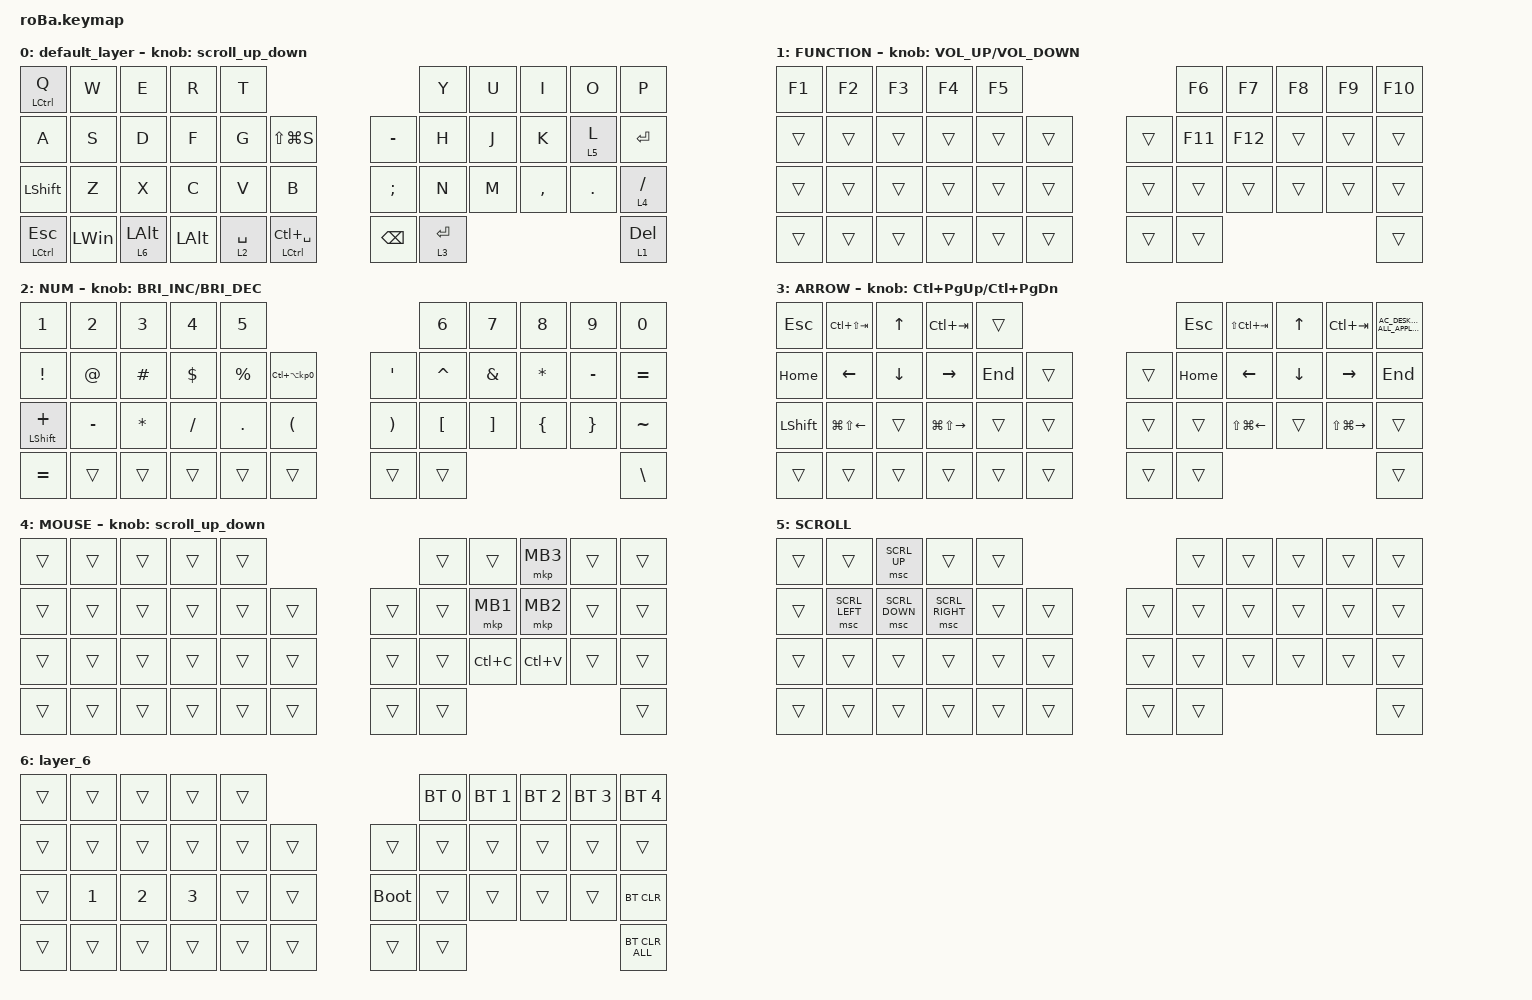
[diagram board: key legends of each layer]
#include <behaviors.dtsi>
#include <dt-bindings/zmk/bt.h>
#include <dt-bindings/zmk/keys.h>
#include <dt-bindings/zmk/pointing.h>

#define ZMK_POINTING_DEFAULT_SCRL_VAL 100

&mt {
    flavor = "balanced";
    quick-tap-ms = <0>;
};

/ {
    combos {
        compatible = "zmk,combos";

        tab {
            bindings = <&kp TAB>;
            key-positions = <11 12>;
        };

        shift_tab {
            bindings = <&kp LS(TAB)>;
            key-positions = <12 13>;
        };

        input_kw {
            bindings = <&input_kw>;
            key-positions = <8 9>;
        };
    };

    macros {
        to_layer_0: to_layer_0 {
            compatible = "zmk,behavior-macro-one-param";
            #binding-cells = <1>;
            bindings = <&to 0 &macro_param_1to1 &kp MACRO_PLACEHOLDER>;
            label = "TO_LAYER_0";
        };

        input_kw: input_kw {
            compatible = "zmk,behavior-macro";
            #binding-cells = <0>;
            bindings = <&kp N1 &kp E &kp D &kp E &kp N &kp E &kp R &kp N0>;
            label = "INPUT_KW";
        };

        kp_to_layer_0: kp_to_layer_0 {
            compatible = "zmk,behavior-macro";
            #binding-cells = <0>;
            bindings = <&to 0>;
            label = "KP_TO_LAYER_0";
        };
    };

    behaviors {
        lt_to_layer_0: lt_to_layer_0 {
            compatible = "zmk,behavior-hold-tap";
            label = "LAYER_TAP_TO_0";
            bindings = <&lt>, <&to>;

            #binding-cells = <2>;
            tapping-term-ms = <200>;
        };

        scroll_up_down: behavior_sensor_rotate_mouse_wheel_up_down {
            compatible = "zmk,behavior-sensor-rotate";
            #sensor-binding-cells = <0>;
            bindings = <&msc SCRL_UP>, <&msc SCRL_DOWN>;

            tap-ms = <20>;
        };
    };

    keymap {
        compatible = "zmk,keymap";

        default_layer {
            bindings = <
&mt LEFT_CONTROL Q       &kp W         &kp E           &kp R         &kp T                                                       &kp Y      &kp U  &kp I      &kp O    &kp P
&kp A                    &kp S         &kp D           &kp F         &kp G        &kp LS(LG(S))                   &kp MINUS      &kp H      &kp J  &kp K      &lt 5 L  &kp ENTER
&kp LEFT_SHIFT           &kp Z         &kp X           &kp C         &kp V        &kp B                           &kp SEMICOLON  &kp N      &kp M  &kp COMMA  &kp DOT  &lt 4 SLASH
&mt LEFT_CONTROL ESCAPE  &kp LEFT_WIN  &lt 6 LEFT_ALT  &kp LEFT_ALT  &lt 2 SPACE  &mt LEFT_CONTROL LC(SPACE)      &kp BACKSPACE  &lt 3 RET                             &lt 1 DEL
            >;

            sensor-bindings = <&scroll_up_down>;
        };

        FUNCTION {
            bindings = <
&kp F1  &kp F2  &kp F3  &kp F4  &kp F5                      &kp F6   &kp F7   &kp F8  &kp F9  &kp F10
&trans  &trans  &trans  &trans  &trans  &trans      &trans  &kp F11  &kp F12  &trans  &trans  &trans
&trans  &trans  &trans  &trans  &trans  &trans      &trans  &trans   &trans   &trans  &trans  &trans
&trans  &trans  &trans  &trans  &trans  &trans      &trans  &trans                            &trans
            >;

            sensor-bindings = <&inc_dec_kp C_VOLUME_UP C_VOLUME_DOWN>;
        };

        NUM {
            bindings = <
&kp NUMBER_1         &kp NUMBER_2  &kp NUMBER_3  &kp NUMBER_4  &kp N5                                                           &kp NUMBER_6      &kp N7             &kp N8          &kp N9           &kp N0
&kp EXCLAMATION      &kp AT_SIGN   &kp HASH      &kp DOLLAR    &kp PERCENT  &kp LC(LA(KP_NUMBER_0))      &kp SINGLE_QUOTE       &kp CARET         &kp AMPERSAND      &kp ASTERISK    &kp MINUS        &kp EQUAL
&mt LEFT_SHIFT PLUS  &kp MINUS     &kp ASTERISK  &kp SLASH     &kp PERIOD   &kp LEFT_PARENTHESIS         &kp RIGHT_PARENTHESIS  &kp LEFT_BRACKET  &kp RIGHT_BRACKET  &kp LEFT_BRACE  &kp RIGHT_BRACE  &kp TILDE
&kp EQUAL            &trans        &trans        &trans        &trans       &trans                       &trans                 &trans                                                                &kp BACKSLASH
            >;

            sensor-bindings = <&inc_dec_kp C_BRIGHTNESS_INC C_BRIGHTNESS_DEC>;
        };

        ARROW {
            bindings = <
&kp ESCAPE      &kp LC(LS(TAB))         &kp UP_ARROW    &kp LC(TAB)              &trans                       &kp ESCAPE  &kp LS(LC(TAB))   &kp UP_ARROW    &kp LC(TAB)        &kp C_AC_DESKTOP_SHOW_ALL_APPLICATIONS
&kp HOME        &kp LEFT_ARROW          &kp DOWN_ARROW  &kp RIGHT_ARROW          &kp END  &trans      &trans  &kp HOME    &kp LEFT_ARROW    &kp DOWN_ARROW  &kp RIGHT_ARROW    &kp END
&kp LEFT_SHIFT  &kp LG(LS(LEFT_ARROW))  &trans          &kp LG(LS(RIGHT_ARROW))  &trans   &trans      &trans  &trans      &kp LS(LG(LEFT))  &trans          &kp LS(LG(RIGHT))  &trans
&trans          &trans                  &trans          &trans                   &trans   &trans      &trans  &trans                                                           &trans
            >;

            sensor-bindings = <&inc_dec_kp LC(PAGE_UP) LC(PAGE_DOWN)>;
        };

        MOUSE {
            bindings = <
&trans  &trans  &trans  &trans  &trans                      &trans  &trans     &mkp MB3   &trans  &trans
&trans  &trans  &trans  &trans  &trans  &trans      &trans  &trans  &mkp MB1   &mkp MB2   &trans  &trans
&trans  &trans  &trans  &trans  &trans  &trans      &trans  &trans  &kp LC(C)  &kp LC(V)  &trans  &trans
&trans  &trans  &trans  &trans  &trans  &trans      &trans  &trans                                &trans
            >;

            sensor-bindings = <&scroll_up_down>;
        };

        SCROLL {
            bindings = <
&trans  &trans          &msc SCRL_UP    &trans           &trans                      &trans  &trans  &trans  &trans  &trans
&trans  &msc SCRL_LEFT  &msc SCRL_DOWN  &msc SCRL_RIGHT  &trans  &trans      &trans  &trans  &trans  &trans  &trans  &trans
&trans  &trans          &trans          &trans           &trans  &trans      &trans  &trans  &trans  &trans  &trans  &trans
&trans  &trans          &trans          &trans           &trans  &trans      &trans  &trans                          &trans
            >;
        };

        layer_6 {
            bindings = <
&trans  &trans        &trans        &trans        &trans                           &bt BT_SEL 0  &bt BT_SEL 1  &bt BT_SEL 2  &bt BT_SEL 3  &bt BT_SEL 4
&trans  &trans        &trans        &trans        &trans  &trans      &trans       &trans        &trans        &trans        &trans        &trans
&trans  &kp NUMBER_1  &kp NUMBER_2  &kp NUMBER_3  &trans  &trans      &bootloader  &trans        &trans        &trans        &trans        &bt BT_CLR
&trans  &trans        &trans        &trans        &trans  &trans      &trans       &trans                                                  &bt BT_CLR_ALL
            >;
        };
    };
};
